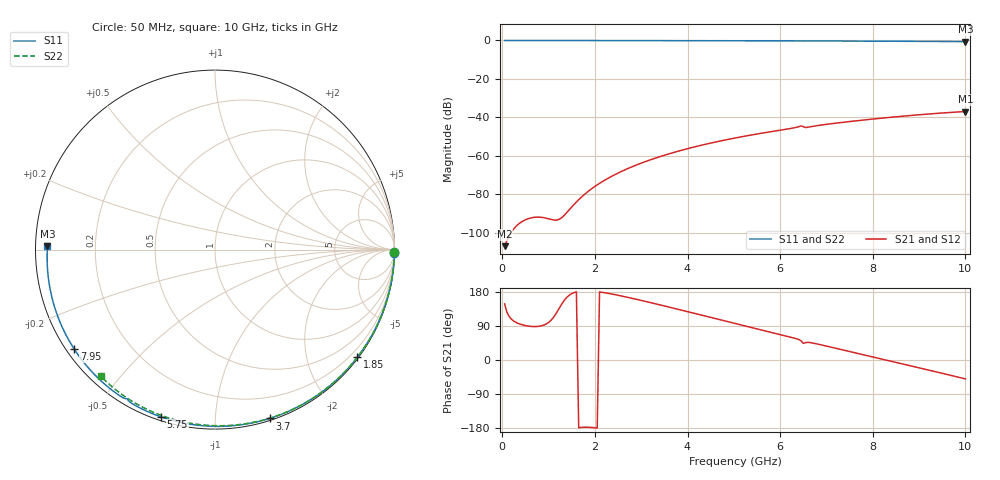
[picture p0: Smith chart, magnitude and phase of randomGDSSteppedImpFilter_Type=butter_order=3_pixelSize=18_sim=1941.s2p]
! freq	dB(S11)	phase(S11)	dB(S12)	phase(S12)
!  dB(S21)	phase(S21)	dB(S22)	phase(S22)
!S-par simulation data
#  GHz  S  DB  R 50
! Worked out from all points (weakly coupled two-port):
!   200 points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, 50 MHz to 10 GHz, reference 50 ohm
!   highest |S21| = -37.00 dB at 10 GHz (marker M1); lowest = -107.1 dB at 50 MHz (marker M2)
!   lowest |S11| = -0.6 dB at 10 GHz (marker M3), VSWR 29.05, Z = 1.72 + j0.482 ohm
!   |S11| at or under -10 dB: nowhere
!   |S22| runs from -0.4 to 0.0 dB; largest |S21 - S12| = 0
!   S11 on the Smith chart (normalised r, x): 50 MHz: open; 1.85 GHz: 0.03, -2.98; 3.7 GHz: 0.02, -1.38; 5.75 GHz: 0.02, -0.73; 7.95 GHz: 0.02, -0.32; 10 GHz: 0.03, +0.01
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0.05  -0.00 -1.0  -107.09 148.2  -107.09 148.2  -0.00 -0.8
0.85  -0.02 -17.3  -92.08 90.3  -92.08 90.3  -0.02 -12.9
1.75  -0.04 -35.1  -80.66 -177.4  -80.66 -177.4  -0.03 -26.4
1.8  -0.05 -36.1  -79.63 -177.3  -79.63 -177.3  -0.03 -27.1
1.85  -0.05 -37.1  -78.66 -177.4  -78.66 -177.4  -0.04 -27.8
2.15  -0.05 -42.9  -73.63 178.7  -73.63 178.7  -0.04 -32.2
2.5  -0.06 -49.7  -69.02 170.8  -69.02 170.8  -0.05 -37.3
2.9  -0.07 -57.2  -64.79 160.1  -64.79 160.1  -0.06 -43.1
3.4  -0.09 -66.5  -60.50 145.6  -60.50 145.6  -0.07 -50.2
3.7  -0.10 -72.0  -58.31 136.7  -58.31 136.7  -0.07 -54.3
4.35  -0.12 -83.7  -54.25 117.0  -54.25 117.0  -0.09 -63.2
5.05  -0.15 -95.9  -50.67 95.6  -50.67 95.6  -0.11 -72.6
5.75  -0.18 -107.9  -47.68 74.3  -47.68 74.3  -0.14 -81.6
6.3  -0.22 -117.2  -45.49 57.8  -45.49 57.8  -0.16 -88.5
6.45  -0.27 -119.9  -44.48 50.5  -44.48 50.5  -0.17 -90.4
6.55  -0.27 -121.0  -45.34 45.9  -45.34 45.9  -0.17 -91.6
6.7  -0.25 -123.7  -44.70 44.8  -44.70 44.8  -0.18 -93.5
7.3  -0.29 -133.8  -42.77 28.1  -42.77 28.1  -0.21 -100.7
7.95  -0.35 -144.7  -41.04 9.5  -41.04 9.5  -0.26 -108.4
8.35  -0.39 -151.5  -40.08 -1.9  -40.08 -1.9  -0.29 -113.1
9.2  -0.49 -166.4  -38.29 -26.4  -38.29 -26.4  -0.36 -122.9
10  -0.60 178.9  -37.00 -49.9  -37.00 -49.9  -0.44 -131.9
